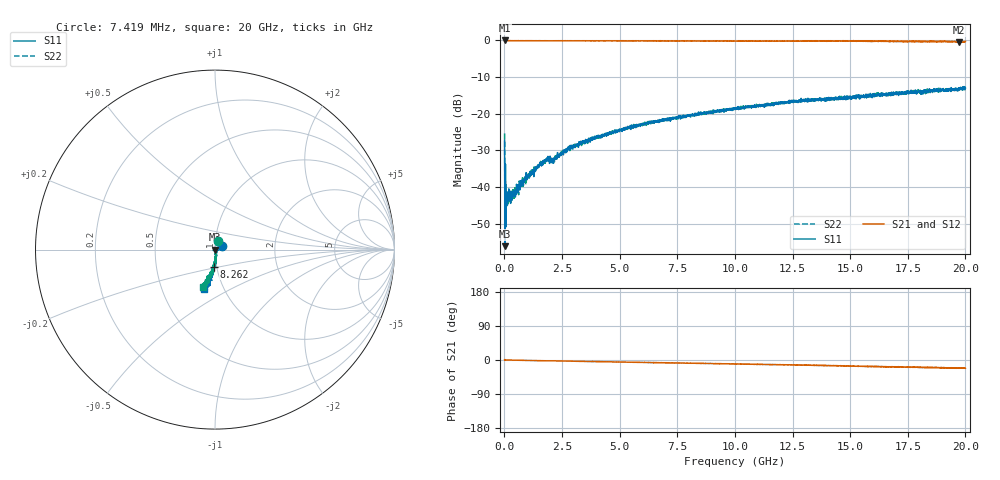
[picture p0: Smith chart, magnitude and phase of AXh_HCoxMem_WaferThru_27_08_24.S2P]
!  2-Port S-parameters saved by WinCal
! VAR MeasName=S-Parameters (CALIBRATED_DATA) read from VNA (P5004A)
! VAR MeasDate=27/08/2024 11:42:12
! VAR NAME=AXh_HCoxMem_WaferThru_27_08_24
! VAR FILENAME=AXh_HCoxMem_WaferThru_27_08_24.S2P
! VAR DATE=27/08/2024 11:42:12
! VAR PHYS_PORTS=1,2
! VAR ObjTypeName=DATASET
! VAR IndexType=Frequency
# Hz S MA R 50
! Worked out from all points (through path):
!   2699 points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, 7.419 MHz to 20 GHz, reference 50 ohm
!   highest |S21| = 0.01 dB at 14.83 MHz (marker M1); lowest = -0.5 dB at 19.72 GHz (marker M2)
!   group delay of S21, straight-line fit = 2.97 ps
!   lowest |S11| = -56.1 dB at 29.65 MHz (marker M3), VSWR 1.00, Z = 49.9 - j0.12 ohm
!   |S11| at or under -10 dB: start of sweep to end of sweep
!   |S22| runs from -52.2 to -12.8 dB; largest |S21 - S12| = 0.026
!   S11 on the Smith chart (normalised r, x): 7.419 MHz: 1.08, +0.05; 8.262 GHz: 0.97, -0.19; 20 GHz: 0.81, -0.37
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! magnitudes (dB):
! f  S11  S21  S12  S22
! 7.419 MHz  -27.2  -0.1  -0.1  -25.3
! 14.83 MHz  -41.8  0.0  -0.1  -39.4
! 29.65 MHz  -56.1  0.0  -0.1  -52.2
! 111.2 MHz  -41.4  -0.1  -0.1  -43.0
! 133.4 MHz  -43.1  -0.1  -0.1  -42.9
! 177.9 MHz  -43.7  0.0  -0.1  -44.0
! 474.3 MHz  -42.7  -0.1  -0.1  -41.2
! 696.6 MHz  -39.3  -0.1  -0.1  -39.3
! 963.3 MHz  -37.2  -0.1  -0.1  -36.5
! 1.608 GHz  -34.3  -0.1  -0.1  -33.1
! 1.882 GHz  -31.8  -0.1  -0.1  -32.0
! 2.134 GHz  -32.4  -0.1  -0.1  -32.4
! 2.579 GHz  -30.4  -0.1  -0.1  -30.4
! 3.342 GHz  -27.8  -0.1  -0.1  -28.7
! 4.743 GHz  -24.9  -0.1  -0.1  -25.1
! 6.677 GHz  -21.9  -0.1  -0.2  -22.2
! 8.262 GHz  -20.4  -0.1  -0.1  -20.2
! 10 GHz  -18.8  -0.2  -0.2  -18.8
! 13.34 GHz  -16.4  -0.1  -0.1  -16.1
! 16.67 GHz  -14.8  -0.2  -0.3  -14.4
! 19.72 GHz  -13.0  -0.5  -0.4  -13.4
! 20 GHz  -12.9  -0.2  -0.2  -13.2
